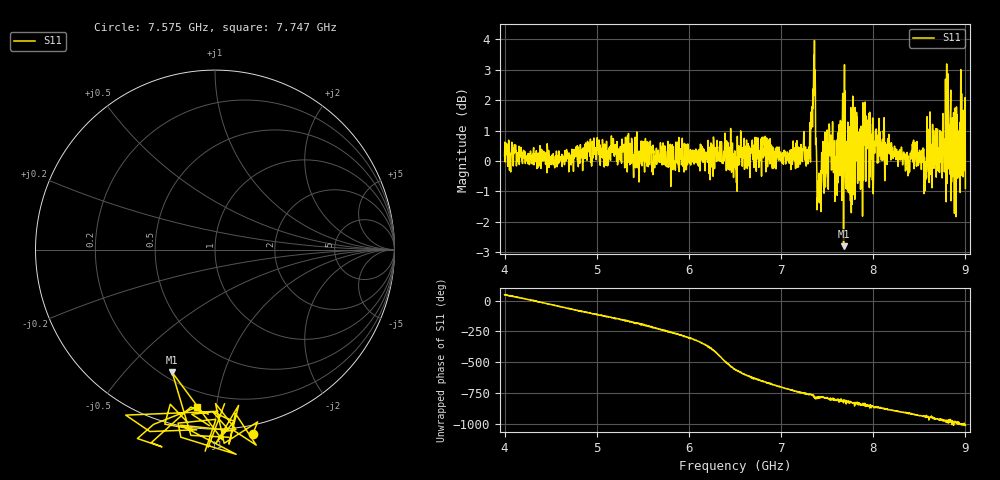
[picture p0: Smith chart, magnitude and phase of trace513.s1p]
! Created with skrf 1.8.0 (http://scikit-rf.org).
# Hz S RI R 50.0
!freq ReS11 ImS11
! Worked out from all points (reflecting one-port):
!   1601 points, 4 GHz to 9 GHz, reference 50 ohm
!   lowest |S11| = -2.8 dB at 7.678 GHz (marker M1), VSWR 6.26, Z = 11.9 - j34.2 ohm
!   phase of S11 starts at 47 deg and turns -1060 deg over the sweep
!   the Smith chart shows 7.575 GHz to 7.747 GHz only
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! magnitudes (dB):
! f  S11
! 4 GHz  0.2
! 4.625 GHz  -0.2
! 5.25 GHz  0.0
! 5.875 GHz  0.2
! 6.5 GHz  -0.2
! 6.575 GHz  0.3
! 7.125 GHz  0.2
! 7.294 GHz  0.1
! 7.347 GHz  1.7
! 7.362 GHz  4.0
! 7.412 GHz  -0.4
! 7.516 GHz  0.6
! 7.591 GHz  0.1
! 7.647 GHz  0.2
! 7.678 GHz  -2.8
! 7.75 GHz  -0.4
! 7.769 GHz  -0.9
! 7.8 GHz  -1.3
! 7.859 GHz  1.1
! 7.928 GHz  0.7
! 7.981 GHz  0.1
! 8.047 GHz  0.0
! 8.375 GHz  -0.1
! 8.725 GHz  0.9
! 8.819 GHz  0.9
! 8.906 GHz  0.7
! 8.972 GHz  0.5
! 9 GHz  -0.9
